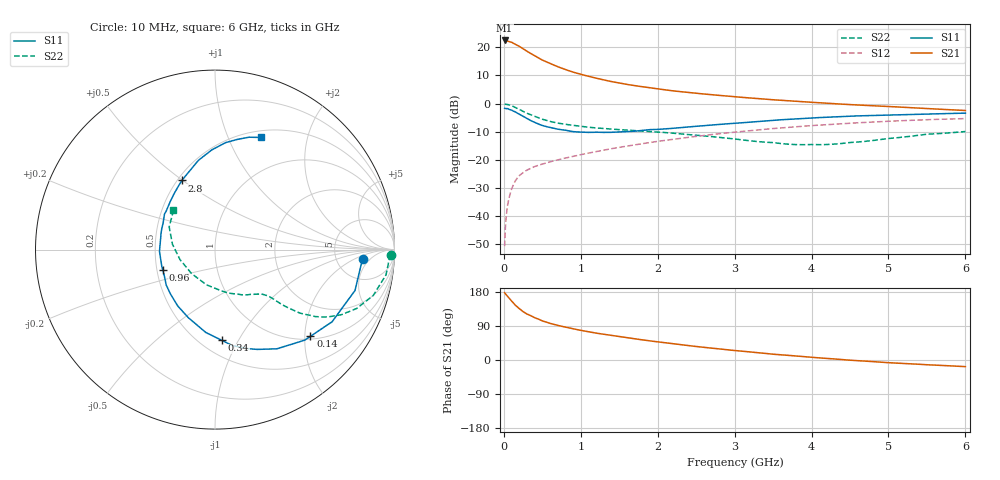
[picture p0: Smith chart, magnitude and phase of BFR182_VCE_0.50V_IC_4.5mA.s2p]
! Infineon Technologies  Discrete & RF Semiconductors
! BFR182
! VCE = 0.50 V,  IC =  4.5 mA
! Common Emitter S-Parameters:  Nov 2015
# GHz  S  MA  R  50
!  f  S11  S21  S12  S22
! GHz  MAG  ANG  MAG  ANG  MAG  ANG  MAG  ANG
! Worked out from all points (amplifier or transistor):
!   210 points, 10 MHz to 6 GHz, reference 50 ohm
!   highest |S21| = 22.5 dB at 10 MHz (marker M1)
!   |S21| within 3 dB of that: start of sweep to 252.8 MHz
!   unconditionally stable (mu >= 1): 924.1 MHz to 3.721 GHz
!   at 185 MHz: K = 0.33, MSG = 23.4 dB, |S12| = -26.2 dB
!   at 1.52 GHz: K = 1.11, MAG = 9.3 dB, |S12| = -15.5 dB
!   at 6 GHz: K = 0.98, MSG = 1.4 dB, |S12| = -5.3 dB
!   S11 on the Smith chart (normalised r, x): 10 MHz: 9.49, -3.00; 140 MHz: 1.07, -2.13; 340 MHz: 0.63, -0.86; 960 MHz: 0.54, -0.13; 2.8 GHz: 0.53, +0.50; 6 GHz: 0.58, +1.32
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0.01  0.8252 -3.5  13.28 177.6  0.0029 86.8  0.98 -1.7
0.04  0.8117 -13.0  12.94 169.9  0.0127 81.4  0.9651 -6.8
0.05  0.8127 -16.3  12.93 167.5  0.0159 80.9  0.9631 -8.4
0.1  0.7662 -31.7  12.39 155.6  0.03 73.7  0.9178 -16.2
0.14  0.7182 -42.3  11.52 146.9  0.0398 68.1  0.8662 -21.2
0.2  0.6517 -58.0  10.44 135.6  0.0521 62.9  0.7917 -27.3
0.24  0.6041 -67.0  9.639 129.2  0.0575 59.4  0.7387 -30.4
0.3  0.5434 -79.7  8.523 121.4  0.0654 56.8  0.6724 -33.7
0.34  0.5069 -85.7  7.919 117.9  0.0695 55.4  0.6396 -34.8
0.4  0.4646 -96.3  7.079 111.7  0.0757 53.6  0.5909 -36.8
0.5  0.4079 -111.2  5.951 103.2  0.0838 52.7  0.5262 -38.4
0.6  0.3764 -123.5  5.158 96.7  0.092 52.4  0.4807 -39.4
0.8  0.3359 -144.0  4.022 86.5  0.1072 52.9  0.4269 -40.2
0.96  0.3124 -158.8  3.437 79.8  0.1203 53.3  0.3995 -41.0
1.02  0.3096 -164.2  3.262 77.5  0.1251 53.6  0.3902 -41.4
1.4  0.3081 169.7  2.459 64.8  0.1575 54.3  0.3506 -45.0
2.02  0.3485 140.5  1.808 47.4  0.2145 52.4  0.3103 -54.2
2.8  0.4269 115.6  1.399 29.2  0.2909 46.7  0.2511 -73.8
3.1  0.4558 108.8  1.289 23.2  0.3195 43.6  0.2252 -84.5
4.1  0.5633 90.3  1.033 5.6  0.4135 32.3  0.1856 -140.5
5.1  0.6312 77.5  0.873 -8.1  0.4915 20.0  0.2457 168.5
6  0.6753 67.7  0.753 -17.5  0.5402 8.0  0.318 136.7
